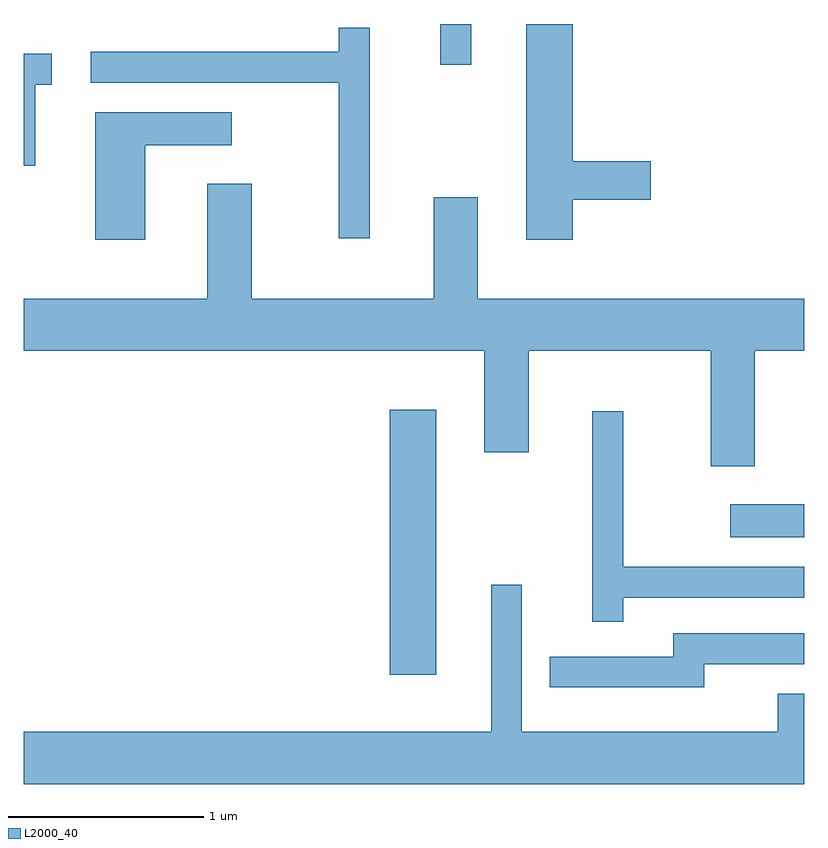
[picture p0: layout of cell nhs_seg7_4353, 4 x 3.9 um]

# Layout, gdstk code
import gdstk
lib = gdstk.Library(unit=1e-6, precision=1e-09)
def R(c, l, rs):  # rectangles x0, y0, x1, y1
    for r in rs: c.add(gdstk.rectangle(r[:2], r[2:], *l))
def P(c, l, *ps):  # polygons
    for p in ps: c.add(gdstk.Polygon(p, *l))
L2000_40 = (2000, 40)

nhs_seg7_4353 = lib.new_cell('nhs_seg7_4353')
R(nhs_seg7_4353, L2000_40, [(321.486,1674.916,321.724,1676.274), (323.233,1675.621,323.611,1675.789), (321.746,1678.043,321.904,1678.252)])
P(nhs_seg7_4353, L2000_40, [(322.424,1677.351),(322.824,1677.351),(322.824,1677.549),(322.424,1677.549),(322.424,1678.252),(322.186,1678.252),(322.186,1677.146),(322.424,1677.146)],
  [(321.384,1678.233),(321.226,1678.233),(321.226,1678.109),(319.953,1678.109),(319.953,1677.951),(321.226,1677.951),(321.226,1677.153),(321.384,1677.153)],
  [(319.669,1677.941),(319.753,1677.941),(319.753,1678.099),(319.611,1678.099),(319.611,1677.526),(319.669,1677.526)],
  [(320.234,1677.631),(320.678,1677.631),(320.678,1677.799),(319.976,1677.799),(319.976,1677.146),(320.234,1677.146)],
  [(323.359,1676.576),(323.611,1676.576),(323.611,1676.844),(321.939,1676.844),(321.939,1677.364),(321.711,1677.364),(321.711,1676.844),(320.779,1676.844),(320.779,1677.434),(320.551,1677.434),(320.551,1676.844),(319.611,1676.844),(319.611,1676.576),(321.971,1676.576),(321.971,1676.056),(322.199,1676.056),(322.199,1676.576),(323.131,1676.576),(323.131,1675.986),(323.359,1675.986)],
  [(322.684,1675.311),(323.611,1675.311),(323.611,1675.469),(322.684,1675.469),(322.684,1676.268),(322.526,1676.268),(322.526,1675.188),(322.684,1675.188)],
  [(323.611,1674.819),(323.476,1674.819),(323.476,1674.624),(322.164,1674.624),(322.164,1675.378),(322.006,1675.378),(322.006,1674.624),(319.611,1674.624),(319.611,1674.356),(323.611,1674.356)],
  [(323.099,1674.971),(323.611,1674.971),(323.611,1675.129),(322.941,1675.129),(322.941,1675.009),(322.308,1675.009),(322.308,1674.851),(323.099,1674.851)])

lib.write_gds('nhs_seg7_4353.gds')
